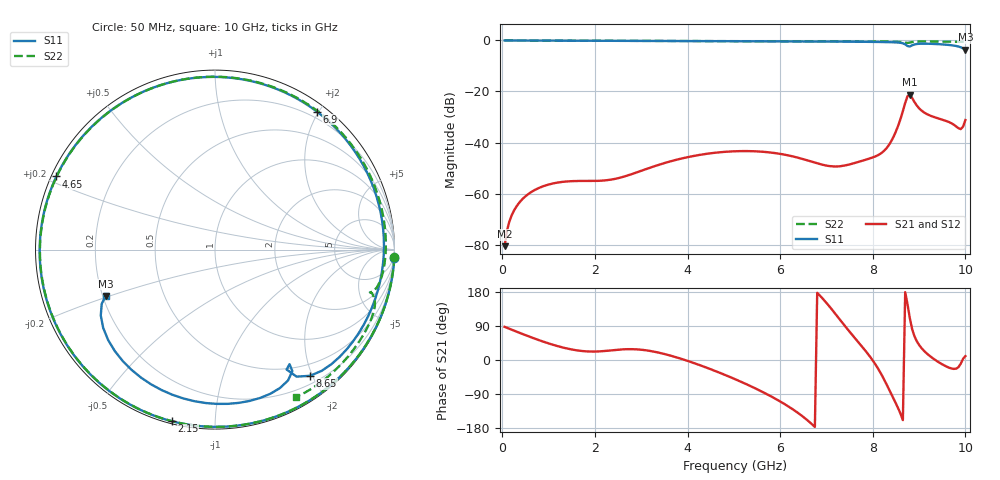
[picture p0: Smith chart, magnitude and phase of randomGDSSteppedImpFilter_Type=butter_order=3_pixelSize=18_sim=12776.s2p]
! freq	dB(S11)	phase(S11)	dB(S12)	phase(S12)
!  dB(S21)	phase(S21)	dB(S22)	phase(S22)
!S-par simulation data
#  GHz  S  DB  R 50
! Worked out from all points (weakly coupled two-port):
!   200 points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, 50 MHz to 10 GHz, reference 50 ohm
!   highest |S21| = -21.25 dB at 8.8 GHz (marker M1); lowest = -80.6 dB at 50 MHz (marker M2)
!   lowest |S11| = -3.6 dB at 10 GHz (marker M3), VSWR 4.91, Z = 10.6 - j9.74 ohm
!   |S11| at or under -10 dB: nowhere
!   |S22| runs from -1.0 to 0.0 dB; largest |S21 - S12| = 0
!   S11 on the Smith chart (normalised r, x): 50 MHz: 0, -44; 2.15 GHz: 0.01, -0.78; 4.65 GHz: 0.01, +0.22; 6.9 GHz: 0.11, +1.98; 8.65 GHz: 0.31, -1.97; 10 GHz: 0.21, -0.19
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0.05  -0.00 -2.6  -80.62 87.5  -80.62 87.5  -0.00 -2.4
0.1  -0.00 -5.2  -74.61 85.0  -74.61 85.0  -0.00 -4.8
0.2  -0.01 -10.4  -68.64 80.1  -68.64 80.1  -0.01 -9.5
0.5  -0.03 -25.8  -61.08 65.6  -61.08 65.6  -0.03 -23.7
1.15  -0.07 -58.3  -55.83 38.2  -55.83 38.2  -0.07 -53.8
1.75  -0.10 -86.4  -55.06 23.4  -55.06 23.4  -0.10 -80.6
2.15  -0.12 -104.1  -54.94 23.1  -54.94 23.1  -0.12 -97.9
3.4  -0.17 -155.4  -48.62 18.8  -48.62 18.8  -0.18 -149.5
4.05  -0.20 179.0  -45.56 -4.4  -45.56 -4.4  -0.21 -175.8
4.65  -0.24 155.2  -43.90 -31.5  -43.90 -31.5  -0.24 159.6
5.05  -0.26 138.9  -43.41 -51.8  -43.41 -51.8  -0.27 142.8
5.95  -0.32 99.7  -44.30 -105.9  -44.30 -105.9  -0.31 103.8
6.7  -0.37 63.7  -47.61 -170.9  -47.61 -170.9  -0.34 70.4
6.9  -0.39 53.5  -48.64 164.5  -48.64 164.5  -0.35 61.5
7.7  -0.49 9.8  -47.55 45.3  -47.55 45.3  -0.37 26.4
8.35  -0.67 -30.1  -40.93 -77.1  -40.93 -77.1  -0.44 -0.9
8.65  -1.11 -53.0  -27.70 -158.6  -27.70 -158.6  -0.68 -13.3
8.8  -2.37 -56.9  -21.25 110.4  -21.25 110.4  -0.83 -15.5
9.05  -1.27 -73.0  -27.43 31.8  -27.43 31.8  -0.42 -26.1
9.4  -1.43 -102.0  -30.46 -4.1  -30.46 -4.1  -0.44 -39.5
9.9  -2.68 -150.0  -34.74 -9.7  -34.74 -9.7  -0.53 -57.6
10  -3.59 -157.0  -31.19 10.2  -31.19 10.2  -0.57 -61.1
